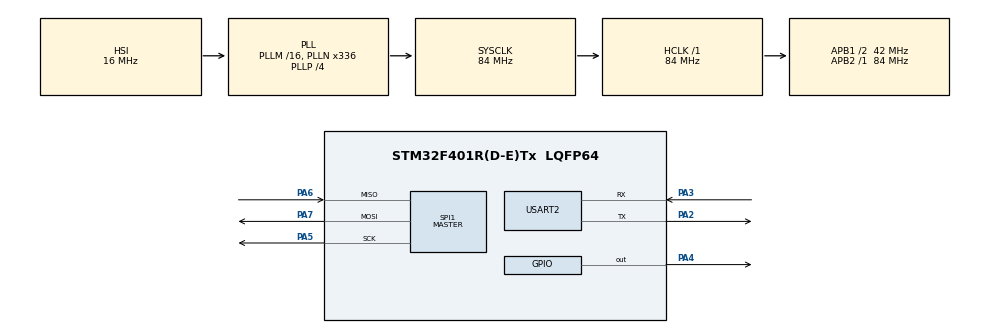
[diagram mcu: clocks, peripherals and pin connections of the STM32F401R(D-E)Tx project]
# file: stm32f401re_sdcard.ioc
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Mcu.Family=STM32F4
Mcu.Name=STM32F401R(D-E)Tx
Mcu.Package=LQFP64
NVIC.PriorityGroup=NVIC_PRIORITYGROUP_4
PA2.Mode=Asynchronous
PA2.Signal=USART2_TX
PA3.Mode=Asynchronous
PA3.Signal=USART2_RX
PA4.PinState=GPIO_PIN_SET
PA4.Signal=GPIO_Output
PA5.Mode=Full_Duplex_Master
PA5.Signal=SPI1_SCK
PA6.Mode=Full_Duplex_Master
PA6.Signal=SPI1_MISO
PA7.Mode=Full_Duplex_Master
PA7.Signal=SPI1_MOSI
ProjectManager.HeapSize=0x200
ProjectManager.StackSize=0x400
ProjectManager.TargetToolchain=STM32CubeIDE
RCC.48MHZClocksFreq_Value=48000000
RCC.AHBFreq_Value=84000000
RCC.APB1CLKDivider=RCC_HCLK_DIV2
RCC.APB1Freq_Value=42000000
RCC.APB1TimFreq_Value=84000000
RCC.APB2Freq_Value=84000000
RCC.APB2TimFreq_Value=84000000
RCC.CortexFreq_Value=84000000
RCC.HCLKFreq_Value=84000000
RCC.HSE_VALUE=8000000
RCC.HSI_VALUE=16000000
RCC.PLLN=336
RCC.PLLP=RCC_PLLP_DIV4
RCC.PLLQ=7
RCC.SYSCLKFreq_VALUE=84000000
RCC.SYSCLKSource=RCC_SYSCLKSOURCE_PLLCLK
RCC.VCOOutputFreq_Value=336000000
SPI1.BaudRatePrescaler=SPI_BAUDRATEPRESCALER_64
SPI1.Direction=SPI_DIRECTION_2LINES
SPI1.Mode=SPI_MODE_MASTER
SPI1.VirtualType=VM_MASTER
USART2.VirtualMode=VM_ASYNC
VP_FATFS_VS_Generic.Mode=User_defined
board=NUCLEO-F401RE

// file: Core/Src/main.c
/* USER CODE BEGIN Header */
/**
  ******************************************************************************
  * @file           : main.c
  * @brief          : Main program body
  ******************************************************************************
  * @attention
  *
  * Copyright (c) 2025 STMicroelectronics.
  * All rights reserved.
  *
  * This software is licensed under terms that can be found in the LICENSE file
  * in the root directory of this software component.
  * If no LICENSE file comes with this software, it is provided AS-IS.
  *
  ******************************************************************************
  */
/* USER CODE END Header */
#include "main.h"
#include "fatfs.h"

/* USER CODE BEGIN Includes */
#include "stdio.h"
#include "string.h"
#include "fatfs.h"

/* USER CODE END Includes */

/* USER CODE BEGIN PTD */

FATFS fs;    // File system object
FIL fil;     // File object
FRESULT fresult;
UINT br, bw;

void SD_Card_Test(void)
{
    // Mount SD Card
    fresult = f_mount(&fs, "", 1);
    if (fresult == FR_OK)
    {
        printf("✅ SD card mounted successfully!\r\n");
    }
    else
    {
        printf("❌ Mount failed: %d\r\n", fresult);
        return;
    }

    // Create and write to file
    fresult = f_open(&fil, "test.txt", FA_CREATE_ALWAYS | FA_WRITE);
    if (fresult == FR_OK)
    {
        char data[] = "Hello from STM32F401RE!\r\n";
        f_write(&fil, data, sizeof(data)-1, &bw);
        f_close(&fil);
        printf("📄 Data written successfully!\r\n");
    }
    else
    {
        printf("❌ File open failed: %d\r\n", fresult);
    }

    // Read file content
    fresult = f_open(&fil, "test.txt", FA_READ);
    if (fresult == FR_OK)
    {
        char buffer[64];
        f_read(&fil, buffer, sizeof(buffer)-1, &br);
        buffer[br] = 0;
        printf("📖 File content: %s\r\n", buffer);
        f_close(&fil);
    }
    else
    {
        printf("❌ File read failed: %d\r\n", fresult);
    }
}

/* USER CODE END PTD */

SPI_HandleTypeDef hspi1;

UART_HandleTypeDef huart2;

void SystemClock_Config(void);
static void MX_GPIO_Init(void);
static void MX_USART2_UART_Init(void);
static void MX_SPI1_Init(void);

/* USER CODE BEGIN 0 */
int _write(int file, char *ptr, int len)
{
  HAL_UART_Transmit(&huart2, (uint8_t*)ptr, len, HAL_MAX_DELAY);
  return len;
}

/* USER CODE END 0 */

int main(void)
{

  /* MCU Configuration--------------------------------------------------------*/

  /* Reset of all peripherals, Initializes the Flash interface and the Systick. */
  HAL_Init();

  /* Configure the system clock */
  SystemClock_Config();

  /* Initialize all configured peripherals */
  MX_GPIO_Init();
  MX_USART2_UART_Init();
  MX_SPI1_Init();
  MX_FATFS_Init();
  /* USER CODE BEGIN 2 */
  printf("🔹 STM32 FATFS + SD Card SPI Test Starting...\r\n");
  SD_Card_Test();
  /* USER CODE END 2 */

  /* Infinite loop */
  while (1)
  {

  }
}

void SystemClock_Config(void)
{
  RCC_OscInitTypeDef RCC_OscInitStruct = {0};
  RCC_ClkInitTypeDef RCC_ClkInitStruct = {0};

  /** Configure the main internal regulator output voltage
  */
  __HAL_RCC_PWR_CLK_ENABLE();
  __HAL_PWR_VOLTAGESCALING_CONFIG(PWR_REGULATOR_VOLTAGE_SCALE2);

  /** Initializes the RCC Oscillators according to the specified parameters
  * in the RCC_OscInitTypeDef structure.
  */
  RCC_OscInitStruct.OscillatorType = RCC_OSCILLATORTYPE_HSI;
  RCC_OscInitStruct.HSIState = RCC_HSI_ON;
  RCC_OscInitStruct.HSICalibrationValue = RCC_HSICALIBRATION_DEFAULT;
  RCC_OscInitStruct.PLL.PLLState = RCC_PLL_ON;
  RCC_OscInitStruct.PLL.PLLSource = RCC_PLLSOURCE_HSI;
  RCC_OscInitStruct.PLL.PLLM = 16;
  RCC_OscInitStruct.PLL.PLLN = 336;
  RCC_OscInitStruct.PLL.PLLP = RCC_PLLP_DIV4;
  RCC_OscInitStruct.PLL.PLLQ = 7;
  if (HAL_RCC_OscConfig(&RCC_OscInitStruct) != HAL_OK)
  {
    Error_Handler();
  }

  /** Initializes the CPU, AHB and APB buses clocks
  */
  RCC_ClkInitStruct.ClockType = RCC_CLOCKTYPE_HCLK|RCC_CLOCKTYPE_SYSCLK
                              |RCC_CLOCKTYPE_PCLK1|RCC_CLOCKTYPE_PCLK2;
  RCC_ClkInitStruct.SYSCLKSource = RCC_SYSCLKSOURCE_PLLCLK;
  RCC_ClkInitStruct.AHBCLKDivider = RCC_SYSCLK_DIV1;
  RCC_ClkInitStruct.APB1CLKDivider = RCC_HCLK_DIV2;
  RCC_ClkInitStruct.APB2CLKDivider = RCC_HCLK_DIV1;

  if (HAL_RCC_ClockConfig(&RCC_ClkInitStruct, FLASH_LATENCY_2) != HAL_OK)
  {
    Error_Handler();
  }
}

static void MX_SPI1_Init(void)
{

  /* SPI1 parameter configuration*/
  hspi1.Instance = SPI1;
  hspi1.Init.Mode = SPI_MODE_MASTER;
  hspi1.Init.Direction = SPI_DIRECTION_2LINES;
  hspi1.Init.DataSize = SPI_DATASIZE_8BIT;
  hspi1.Init.CLKPolarity = SPI_POLARITY_LOW;
  hspi1.Init.CLKPhase = SPI_PHASE_1EDGE;
  hspi1.Init.NSS = SPI_NSS_SOFT;
  hspi1.Init.BaudRatePrescaler = SPI_BAUDRATEPRESCALER_64;
  hspi1.Init.FirstBit = SPI_FIRSTBIT_MSB;
  hspi1.Init.TIMode = SPI_TIMODE_DISABLE;
  hspi1.Init.CRCCalculation = SPI_CRCCALCULATION_DISABLE;
  hspi1.Init.CRCPolynomial = 10;
  if (HAL_SPI_Init(&hspi1) != HAL_OK)
  {
    Error_Handler();
  }

}

static void MX_USART2_UART_Init(void)
{

  huart2.Instance = USART2;
  huart2.Init.BaudRate = 115200;
  huart2.Init.WordLength = UART_WORDLENGTH_8B;
  huart2.Init.StopBits = UART_STOPBITS_1;
  huart2.Init.Parity = UART_PARITY_NONE;
  huart2.Init.Mode = UART_MODE_TX_RX;
  huart2.Init.HwFlowCtl = UART_HWCONTROL_NONE;
  huart2.Init.OverSampling = UART_OVERSAMPLING_16;
  if (HAL_UART_Init(&huart2) != HAL_OK)
  {
    Error_Handler();
  }

}

static void MX_GPIO_Init(void)
{
  GPIO_InitTypeDef GPIO_InitStruct = {0};

  /* GPIO Ports Clock Enable */
  __HAL_RCC_GPIOA_CLK_ENABLE();

  /*Configure GPIO pin Output Level */
  HAL_GPIO_WritePin(GPIOA, GPIO_PIN_4, GPIO_PIN_SET);

  /*Configure GPIO pin : PA4 */
  GPIO_InitStruct.Pin = GPIO_PIN_4;
  GPIO_InitStruct.Mode = GPIO_MODE_OUTPUT_PP;
  GPIO_InitStruct.Pull = GPIO_NOPULL;
  GPIO_InitStruct.Speed = GPIO_SPEED_FREQ_LOW;
  HAL_GPIO_Init(GPIOA, &GPIO_InitStruct);

}

void Error_Handler(void)
{
  __disable_irq();
  while (1)
  {
  }
}
